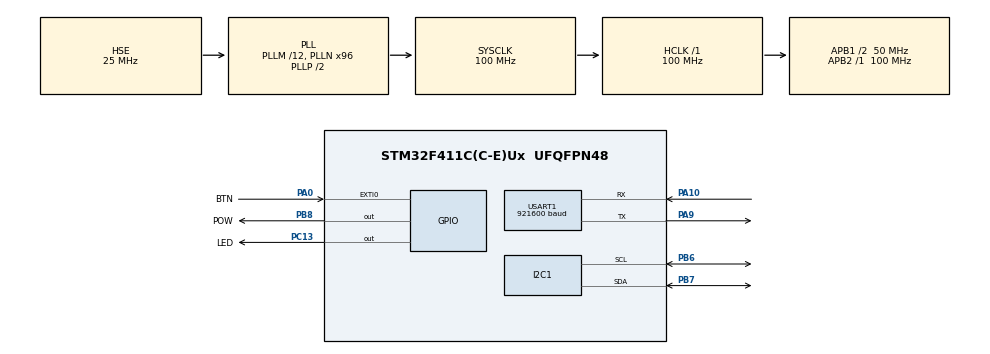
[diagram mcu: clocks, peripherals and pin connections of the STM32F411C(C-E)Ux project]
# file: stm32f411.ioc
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I2C1.I2C_Mode=I2C_Fast
Mcu.Family=STM32F4
Mcu.Name=STM32F411C(C-E)Ux
Mcu.Package=UFQFPN48
NVIC.EXTI0_IRQn=true\:0\:0\:false\:false\:true\:true\:true\:true
NVIC.I2C1_ER_IRQn=true\:0\:0\:false\:false\:true\:true\:true\:true
NVIC.I2C1_EV_IRQn=true\:0\:0\:false\:false\:true\:true\:true\:true
NVIC.PriorityGroup=NVIC_PRIORITYGROUP_4
PA0-WKUP.GPIO_Label=BTN
PA0-WKUP.GPIO_ModeDefaultEXTI=GPIO_MODE_IT_RISING
PA0-WKUP.GPIO_PuPd=GPIO_PULLUP
PA0-WKUP.Signal=GPXTI0
PA10.Mode=Asynchronous
PA10.Signal=USART1_RX
PA13.Mode=Serial_Wire
PA13.Signal=SYS_JTMS-SWDIO
PA14.Mode=Serial_Wire
PA14.Signal=SYS_JTCK-SWCLK
PA9.Mode=Asynchronous
PA9.Signal=USART1_TX
PB6.GPIO_Pu=GPIO_PULLUP
PB6.Mode=I2C
PB6.Signal=I2C1_SCL
PB7.GPIO_Pu=GPIO_PULLUP
PB7.Mode=I2C
PB7.Signal=I2C1_SDA
PB8.GPIO_Label=POW
PB8.Signal=GPIO_Output
PC13-ANTI_TAMP.GPIO_Label=LED
PC13-ANTI_TAMP.GPIO_ModeDefaultOutputPP=GPIO_MODE_OUTPUT_OD
PC13-ANTI_TAMP.GPIO_PuPd=GPIO_NOPULL
PC13-ANTI_TAMP.PinState=GPIO_PIN_SET
PC13-ANTI_TAMP.Signal=GPIO_Output
PH0\ -\ OSC_IN.Mode=HSE-External-Oscillator
PH0\ -\ OSC_IN.Signal=RCC_OSC_IN
PH1\ -\ OSC_OUT.Mode=HSE-External-Oscillator
PH1\ -\ OSC_OUT.Signal=RCC_OSC_OUT
ProjectManager.HeapSize=0x200
ProjectManager.StackSize=0x400
ProjectManager.TargetToolchain=STM32CubeIDE
RCC.48MHZClocksFreq_Value=50000000
RCC.AHBFreq_Value=100000000
RCC.APB1CLKDivider=RCC_HCLK_DIV2
RCC.APB1Freq_Value=50000000
RCC.APB1TimFreq_Value=100000000
RCC.APB2Freq_Value=100000000
RCC.APB2TimFreq_Value=100000000
RCC.CortexFreq_Value=100000000
RCC.HCLKFreq_Value=100000000
RCC.HSE_VALUE=25000000
RCC.HSI_VALUE=16000000
RCC.LSE_VALUE=32768
RCC.PLLM=12
RCC.PLLN=96
RCC.PLLSourceVirtual=RCC_PLLSOURCE_HSE
RCC.SYSCLKFreq_VALUE=100000000
RCC.SYSCLKSource=RCC_SYSCLKSOURCE_PLLCLK
RCC.VCOOutputFreq_Value=200000000
USART1.BaudRate=921600
USART1.VirtualMode=VM_ASYNC
VP_CRC_VS_CRC.Mode=CRC_Activate
board=custom

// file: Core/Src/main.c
/* USER CODE BEGIN Header */
/**
 ******************************************************************************
 * @file           : main.c
 * @brief          : Main program body
 ******************************************************************************
 * @attention
 *
 * Copyright (c) 2023 Lars Boegild Thomsen <lbthomsen@gmail.com>
 * All rights reserved.
 *
 * This software is licensed under terms that can be found in the LICENSE file
 * in the root directory of this software component.
 * If no LICENSE file comes with this software, it is provided AS-IS.
 *
 ******************************************************************************
 */
/* USER CODE END Header */
#include "main.h"

/* USER CODE BEGIN Includes */
#include <string.h>
#include "m24cxx.h"
/* USER CODE END Includes */

CRC_HandleTypeDef hcrc;

I2C_HandleTypeDef hi2c1;

UART_HandleTypeDef huart1;

/* USER CODE BEGIN PV */

M24CXX_HandleTypeDef m24cxx;

uint8_t buf[M24CXX_SIZE];
uint8_t do_action = 0;

/* USER CODE END PV */

void SystemClock_Config(void);
static void MX_GPIO_Init(void);
static void MX_I2C1_Init(void);
static void MX_USART1_UART_Init(void);
static void MX_CRC_Init(void);

/* USER CODE BEGIN 0 */

// Send printf to uart1
int _write(int fd, char *ptr, int len) {
    HAL_StatusTypeDef hstatus;

    if (fd == 1 || fd == 2) {
        hstatus = HAL_UART_Transmit(&huart1, (uint8_t*) ptr, len, HAL_MAX_DELAY);
        if (hstatus == HAL_OK)
            return len;
        else
            return -1;
    }
    return -1;
}

void HAL_GPIO_EXTI_Callback(uint16_t GPIO_Pin) {
    if (GPIO_Pin == BTN_Pin) // If the button
    {
        do_action = 1;
    }
}

void dump_buf(uint8_t *buf, uint32_t size) {
    for (uint32_t i = 0; i < size; ++i) {
        if (i % 16 == 0) {
            printf("0x%08lx: ", i);
        }
        printf("%02x ", buf[i]);
        if ((i + 1) % 16 == 0)
            printf("\n");
    }
}

void fill_buffer(uint8_t *buf, uint32_t size, uint8_t type) {
    switch (type) {
    case 0:
        memset(buf, 0x00, size);
        break;
    case 1:
        memset(buf, 0xff, size);
        break;
    case 2:
        memset(buf, 0xaa, size);
        break;
    case 3:
        for (uint32_t i = 0; i < size; ++i) {
            buf[i] = (uint8_t)i;
        }
        break;
    }
}

/* USER CODE END 0 */

int main(void)
{

  /* MCU Configuration--------------------------------------------------------*/

  /* Reset of all peripherals, Initializes the Flash interface and the Systick. */
  HAL_Init();

  /* Configure the system clock */
  SystemClock_Config();

  /* Initialize all configured peripherals */
  MX_GPIO_Init();
  MX_I2C1_Init();
  MX_USART1_UART_Init();
  MX_CRC_Init();
  /* USER CODE BEGIN 2 */

    DBG("\n\n\n--------\nStarting");

    DBG("Powering up memory");
    HAL_GPIO_WritePin(POW_GPIO_Port, POW_Pin, GPIO_PIN_SET);

    // Wait a few ms to get ready
    HAL_Delay(10);

    DBG("Scanning I2C bus:");
    // Go through all possible i2c addresses
    for (uint8_t i = 0; i < 128; i++) {

        if (HAL_I2C_IsDeviceReady(&hi2c1, (uint16_t) (i << 1), 3, 100) == HAL_OK) {
            // We got an ack
            printf("%2x ", i);
        } else {
            printf("-- ");
        }

        if (i > 0 && (i + 1) % 16 == 0)
            printf("\n");

    }

    printf("\n");

    if (m24cxx_init(&m24cxx, &hi2c1, 0x50) != M24CXX_Ok) {
        DBG("M24CXX Failed to initialize");
        Error_Handler();
    }

  /* USER CODE END 2 */

  /* Infinite loop */
  /* USER CODE BEGIN WHILE */

    uint32_t now = 0, last_blink = 0;

    while (1) {

        now = HAL_GetTick();

        if (now - last_blink >= 500) {
            HAL_GPIO_TogglePin(LED_GPIO_Port, LED_Pin);
            last_blink = now;
        }

        if (do_action) {
            do_action = 0;
            DBG("Do action!");

            if (m24cxx_read(&m24cxx, 0x0, (uint8_t*) &buf, sizeof(buf)) != M24CXX_Ok) {
                DBG("Returned err");
                Error_Handler();
            }

            dump_buf(buf, sizeof(buf));

            fill_buffer(buf, sizeof(buf), 0);

            if (m24cxx_write(&m24cxx, 0x0, (uint8_t*) &buf, sizeof(buf)) != M24CXX_Ok) {
                DBG("Returned err");
                Error_Handler();
            }

            if (m24cxx_read(&m24cxx, 0x0, (uint8_t*) &buf, sizeof(buf)) != M24CXX_Ok) {
                DBG("Returned err");
                Error_Handler();
            }

            dump_buf(buf, sizeof(buf));

            fill_buffer(buf, sizeof(buf), 1);

            if (m24cxx_write(&m24cxx, 0x0, (uint8_t*) &buf, sizeof(buf)) != M24CXX_Ok) {
                DBG("Returned err");
                Error_Handler();
            }

            if (m24cxx_read(&m24cxx, 0x0, (uint8_t*) &buf, sizeof(buf)) != M24CXX_Ok) {
                DBG("Returned err");
                Error_Handler();
            }

            dump_buf(buf, sizeof(buf));

            fill_buffer(buf, sizeof(buf), 2);

            if (m24cxx_write(&m24cxx, 0x0, (uint8_t*) &buf, sizeof(buf)) != M24CXX_Ok) {
                DBG("Returned err");
                Error_Handler();
            }

            if (m24cxx_read(&m24cxx, 0x0, (uint8_t*) &buf, sizeof(buf)) != M24CXX_Ok) {
                DBG("Returned err");
                Error_Handler();
            }

            dump_buf(buf, sizeof(buf));

            fill_buffer(buf, sizeof(buf), 3);

            if (m24cxx_write(&m24cxx, 0x0, (uint8_t*) &buf, sizeof(buf)) != M24CXX_Ok) {
                DBG("Returned err");
                Error_Handler();
            }

            if (m24cxx_read(&m24cxx, 0x0, (uint8_t*) &buf, sizeof(buf)) != M24CXX_Ok) {
                DBG("Returned err");
                Error_Handler();
            }

            dump_buf(buf, sizeof(buf));

//            if (m24cxx_erase_all(&m24cxx) != M24CXX_Ok) {
//                DBG("Returned err");
//                Error_Handler();
//            }
//
//            if (m24cxx_read(&m24cxx, 0x0, (uint8_t*) &buf, sizeof(buf)) != M24CXX_Ok) {
//                DBG("Returned err");
//                Error_Handler();
//            }
//
//            dump_buf(buf, sizeof(buf));

        }

    /* USER CODE END WHILE */

    }
}

void SystemClock_Config(void)
{
  RCC_OscInitTypeDef RCC_OscInitStruct = {0};
  RCC_ClkInitTypeDef RCC_ClkInitStruct = {0};

  /** Configure the main internal regulator output voltage
  */
  __HAL_RCC_PWR_CLK_ENABLE();
  __HAL_PWR_VOLTAGESCALING_CONFIG(PWR_REGULATOR_VOLTAGE_SCALE1);

  /** Initializes the RCC Oscillators according to the specified parameters
  * in the RCC_OscInitTypeDef structure.
  */
  RCC_OscInitStruct.OscillatorType = RCC_OSCILLATORTYPE_HSE;
  RCC_OscInitStruct.HSEState = RCC_HSE_ON;
  RCC_OscInitStruct.PLL.PLLState = RCC_PLL_ON;
  RCC_OscInitStruct.PLL.PLLSource = RCC_PLLSOURCE_HSE;
  RCC_OscInitStruct.PLL.PLLM = 12;
  RCC_OscInitStruct.PLL.PLLN = 96;
  RCC_OscInitStruct.PLL.PLLP = RCC_PLLP_DIV2;
  RCC_OscInitStruct.PLL.PLLQ = 4;
  if (HAL_RCC_OscConfig(&RCC_OscInitStruct) != HAL_OK)
  {
    Error_Handler();
  }

  /** Initializes the CPU, AHB and APB buses clocks
  */
  RCC_ClkInitStruct.ClockType = RCC_CLOCKTYPE_HCLK|RCC_CLOCKTYPE_SYSCLK
                              |RCC_CLOCKTYPE_PCLK1|RCC_CLOCKTYPE_PCLK2;
  RCC_ClkInitStruct.SYSCLKSource = RCC_SYSCLKSOURCE_PLLCLK;
  RCC_ClkInitStruct.AHBCLKDivider = RCC_SYSCLK_DIV1;
  RCC_ClkInitStruct.APB1CLKDivider = RCC_HCLK_DIV2;
  RCC_ClkInitStruct.APB2CLKDivider = RCC_HCLK_DIV1;

  if (HAL_RCC_ClockConfig(&RCC_ClkInitStruct, FLASH_LATENCY_3) != HAL_OK)
  {
    Error_Handler();
  }
}

static void MX_CRC_Init(void)
{

  hcrc.Instance = CRC;
  if (HAL_CRC_Init(&hcrc) != HAL_OK)
  {
    Error_Handler();
  }

}

static void MX_I2C1_Init(void)
{

  hi2c1.Instance = I2C1;
  hi2c1.Init.ClockSpeed = 400000;
  hi2c1.Init.DutyCycle = I2C_DUTYCYCLE_2;
  hi2c1.Init.OwnAddress1 = 0;
  hi2c1.Init.AddressingMode = I2C_ADDRESSINGMODE_7BIT;
  hi2c1.Init.DualAddressMode = I2C_DUALADDRESS_DISABLE;
  hi2c1.Init.OwnAddress2 = 0;
  hi2c1.Init.GeneralCallMode = I2C_GENERALCALL_DISABLE;
  hi2c1.Init.NoStretchMode = I2C_NOSTRETCH_DISABLE;
  if (HAL_I2C_Init(&hi2c1) != HAL_OK)
  {
    Error_Handler();
  }

}

static void MX_USART1_UART_Init(void)
{

  huart1.Instance = USART1;
  huart1.Init.BaudRate = 921600;
  huart1.Init.WordLength = UART_WORDLENGTH_8B;
  huart1.Init.StopBits = UART_STOPBITS_1;
  huart1.Init.Parity = UART_PARITY_NONE;
  huart1.Init.Mode = UART_MODE_TX_RX;
  huart1.Init.HwFlowCtl = UART_HWCONTROL_NONE;
  huart1.Init.OverSampling = UART_OVERSAMPLING_16;
  if (HAL_UART_Init(&huart1) != HAL_OK)
  {
    Error_Handler();
  }

}

static void MX_GPIO_Init(void)
{
  GPIO_InitTypeDef GPIO_InitStruct = {0};

  /* GPIO Ports Clock Enable */
  __HAL_RCC_GPIOC_CLK_ENABLE();
  __HAL_RCC_GPIOH_CLK_ENABLE();
  __HAL_RCC_GPIOA_CLK_ENABLE();
  __HAL_RCC_GPIOB_CLK_ENABLE();

  /*Configure GPIO pin Output Level */
  HAL_GPIO_WritePin(LED_GPIO_Port, LED_Pin, GPIO_PIN_SET);

  /*Configure GPIO pin Output Level */
  HAL_GPIO_WritePin(POW_GPIO_Port, POW_Pin, GPIO_PIN_RESET);

  /*Configure GPIO pin : LED_Pin */
  GPIO_InitStruct.Pin = LED_Pin;
  GPIO_InitStruct.Mode = GPIO_MODE_OUTPUT_OD;
  GPIO_InitStruct.Pull = GPIO_NOPULL;
  GPIO_InitStruct.Speed = GPIO_SPEED_FREQ_LOW;
  HAL_GPIO_Init(LED_GPIO_Port, &GPIO_InitStruct);

  /*Configure GPIO pin : BTN_Pin */
  GPIO_InitStruct.Pin = BTN_Pin;
  GPIO_InitStruct.Mode = GPIO_MODE_IT_RISING;
  GPIO_InitStruct.Pull = GPIO_PULLUP;
  HAL_GPIO_Init(BTN_GPIO_Port, &GPIO_InitStruct);

  /*Configure GPIO pin : POW_Pin */
  GPIO_InitStruct.Pin = POW_Pin;
  GPIO_InitStruct.Mode = GPIO_MODE_OUTPUT_PP;
  GPIO_InitStruct.Pull = GPIO_NOPULL;
  GPIO_InitStruct.Speed = GPIO_SPEED_FREQ_LOW;
  HAL_GPIO_Init(POW_GPIO_Port, &GPIO_InitStruct);

  /* EXTI interrupt init*/
  HAL_NVIC_SetPriority(EXTI0_IRQn, 0, 0);
  HAL_NVIC_EnableIRQ(EXTI0_IRQn);

}

void Error_Handler(void)
{
    __disable_irq();
    while (1) {
    }
}
